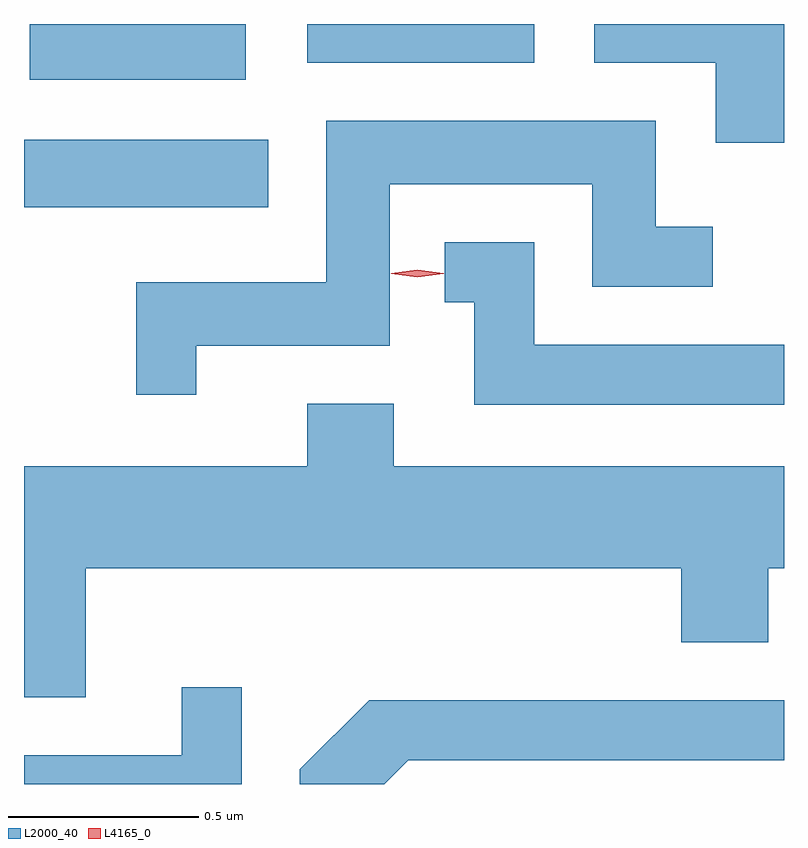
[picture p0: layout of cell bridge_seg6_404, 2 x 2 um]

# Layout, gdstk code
import gdstk
lib = gdstk.Library(unit=1e-6, precision=1e-09)
def R(c, l, rs):  # rectangles x0, y0, x1, y1
    for r in rs: c.add(gdstk.rectangle(r[:2], r[2:], *l))
def P(c, l, *ps):  # polygons
    for p in ps: c.add(gdstk.Polygon(p, *l))
L2000_40 = (2000, 40)
L4165_0 = (4165, 0)

bridge_seg6_404 = lib.new_cell('bridge_seg6_404')
R(bridge_seg6_404, L2000_40, [(944.516,1657.546,945.159,1657.724), (944.531,1657.881,945.099,1658.028), (945.261,1657.926,945.859,1658.028)])
P(bridge_seg6_404, L2000_40, [(946.516,1658.028),(946.016,1658.028),(946.016,1657.926),(946.336,1657.926),(946.336,1657.716),(946.516,1657.716)],
  [(944.969,1657.181),(945.479,1657.181),(945.479,1657.606),(946.011,1657.606),(946.011,1657.336),(946.328,1657.336),(946.328,1657.494),(946.179,1657.494),(946.179,1657.774),(945.311,1657.774),(945.311,1657.349),(944.811,1657.349),(944.811,1657.053),(944.969,1657.053)],
  [(946.516,1657.184),(945.859,1657.184),(945.859,1657.454),(945.623,1657.454),(945.623,1657.296),(945.701,1657.296),(945.701,1657.026),(946.516,1657.026)],
  [(945.261,1657.029),(945.261,1656.864),(944.516,1656.864),(944.516,1656.256),(944.679,1656.256),(944.679,1656.596),(946.246,1656.596),(946.246,1656.401),(946.474,1656.401),(946.474,1656.596),(946.516,1656.596),(946.516,1656.864),(945.489,1656.864),(945.489,1657.029)],
  [(945.089,1656.283),(944.931,1656.283),(944.931,1656.104),(944.516,1656.104),(944.516,1656.028),(945.089,1656.028)],
  [(945.527,1656.091),(946.516,1656.091),(946.516,1656.249),(945.424,1656.249),(945.241,1656.067),(945.241,1656.028),(945.464,1656.028)])
P(bridge_seg6_404, L4165_0, [(945.551,1657.361),(945.482,1657.371),(945.482,1657.371),(945.482,1657.372),(945.551,1657.381),(945.621,1657.372),(945.621,1657.371),(945.621,1657.371)])

lib.write_gds('bridge_seg6_404.gds')
